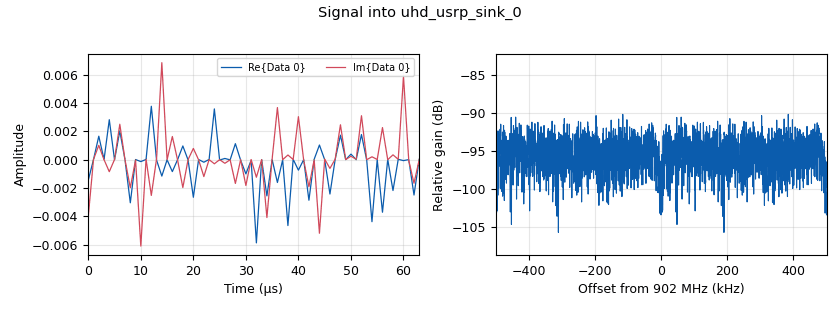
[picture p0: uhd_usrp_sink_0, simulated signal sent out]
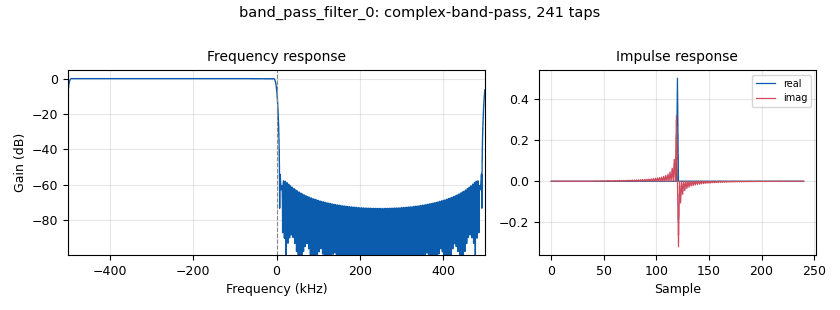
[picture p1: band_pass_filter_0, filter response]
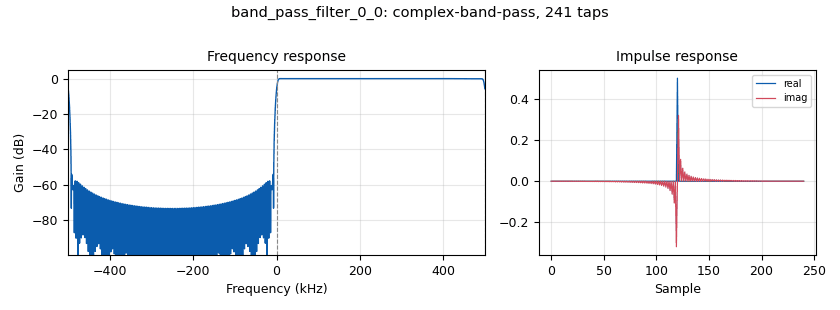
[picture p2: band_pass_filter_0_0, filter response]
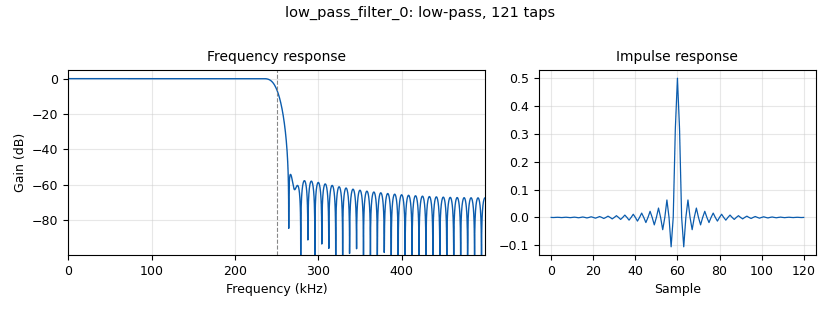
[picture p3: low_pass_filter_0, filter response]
<?xml version='1.0' encoding='utf-8'?>
<flow_graph>
<block>
<key>options</key>
<param><key>id</key><value>top_block</value></param>
<param><key>generate_options</key><value>wx_gui</value></param>
<param><key>category</key><value>Custom</value></param>
</block>
<block>
<key>variable_check_box</key>
<param><key>id</key><value>low_noise</value></param>
<param><key>label</key><value></value></param>
<param><key>value</key><value>True</value></param>
<param><key>true</key><value>True</value></param>
<param><key>false</key><value>False</value></param>
</block>
<block>
<key>variable_check_box</key>
<param><key>id</key><value>high_noise</value></param>
<param><key>label</key><value></value></param>
<param><key>value</key><value>True</value></param>
<param><key>true</key><value>True</value></param>
<param><key>false</key><value>False</value></param>
</block>
<block>
<key>variable_slider</key>
<param><key>id</key><value>noise_scale</value></param>
<param><key>label</key><value></value></param>
<param><key>value</key><value>0.01</value></param>
<param><key>min</key><value>0</value></param>
<param><key>max</key><value>1</value></param>
<param><key>num_steps</key><value>100</value></param>
<param><key>style</key><value>wx.SL_HORIZONTAL</value></param>
<param><key>converver</key><value>float_converter</value></param>
</block>
<block>
<key>gr_multiply_const_vxx</key>
<param><key>id</key><value>gr_multiply_const_vxx_0</value></param>
<param><key>type</key><value>complex</value></param>
<param><key>const</key><value>low_noise</value></param>
<param><key>vlen</key><value>1</value></param>
</block>
<block>
<key>gr_multiply_const_vxx</key>
<param><key>id</key><value>gr_multiply_const_vxx_1</value></param>
<param><key>type</key><value>complex</value></param>
<param><key>const</key><value>high_noise</value></param>
<param><key>vlen</key><value>1</value></param>
</block>
<block>
<key>gr_throttle</key>
<param><key>id</key><value>gr_throttle_0_0</value></param>
<param><key>type</key><value>complex</value></param>
<param><key>samples_per_second</key><value>samp_rate/2</value></param>
<param><key>vlen</key><value>1</value></param>
</block>
<block>
<key>gr_throttle</key>
<param><key>id</key><value>gr_throttle_0</value></param>
<param><key>type</key><value>complex</value></param>
<param><key>samples_per_second</key><value>samp_rate/2</value></param>
<param><key>vlen</key><value>1</value></param>
</block>
<block>
<key>gr_add_xx</key>
<param><key>id</key><value>gr_add_xx_0</value></param>
<param><key>type</key><value>complex</value></param>
<param><key>num_inputs</key><value>2</value></param>
<param><key>vlen</key><value>1</value></param>
</block>
<block>
<key>gr_noise_source_x</key>
<param><key>id</key><value>gr_noise_source_x_0_0</value></param>
<param><key>type</key><value>complex</value></param>
<param><key>noise_type</key><value>gr.GR_GAUSSIAN</value></param>
<param><key>amp</key><value>noise_scale</value></param>
<param><key>seed</key><value>0</value></param>
</block>
<block>
<key>freq_xlating_fir_filter_xxx</key>
<param><key>id</key><value>freq_xlating_fir_filter_xxx_0</value></param>
<param><key>type</key><value>ccc</value></param>
<param><key>decim</key><value>1</value></param>
<param><key>taps</key><value>10</value></param>
<param><key>center_freq</key><value>samp_rate/4</value></param>
<param><key>samp_rate</key><value>samp_rate</value></param>
</block>
<block>
<key>freq_xlating_fir_filter_xxx</key>
<param><key>id</key><value>freq_xlating_fir_filter_xxx_0_0</value></param>
<param><key>type</key><value>ccc</value></param>
<param><key>decim</key><value>1</value></param>
<param><key>taps</key><value>10</value></param>
<param><key>center_freq</key><value>-samp_rate/4</value></param>
<param><key>samp_rate</key><value>samp_rate</value></param>
</block>
<block>
<key>gr_noise_source_x</key>
<param><key>id</key><value>gr_noise_source_x_0</value></param>
<param><key>type</key><value>complex</value></param>
<param><key>noise_type</key><value>gr.GR_GAUSSIAN</value></param>
<param><key>amp</key><value>noise_scale</value></param>
<param><key>seed</key><value>0</value></param>
</block>
<block>
<key>variable_slider</key>
<param><key>id</key><value>ad</value></param>
<param><key>label</key><value></value></param>
<param><key>value</key><value>0</value></param>
<param><key>min</key><value>-50e3</value></param>
<param><key>max</key><value>50e3</value></param>
<param><key>num_steps</key><value>100</value></param>
<param><key>style</key><value>wx.SL_HORIZONTAL</value></param>
<param><key>converver</key><value>float_converter</value></param>
</block>
<block>
<key>band_pass_filter</key>
<param><key>id</key><value>band_pass_filter_0</value></param>
<param><key>type</key><value>fir_filter_ccc</value></param>
<param><key>decim</key><value>1</value></param>
<param><key>gain</key><value>1</value></param>
<param><key>samp_rate</key><value>samp_rate</value></param>
<param><key>low_cutoff_freq</key><value>-samp_rate/2</value></param>
<param><key>high_cutoff_freq</key><value>0</value></param>
<param><key>width</key><value>10e3</value></param>
<param><key>win</key><value>firdes.WIN_HAMMING</value></param>
</block>
<block>
<key>band_pass_filter</key>
<param><key>id</key><value>band_pass_filter_0_0</value></param>
<param><key>type</key><value>fir_filter_ccc</value></param>
<param><key>decim</key><value>1</value></param>
<param><key>gain</key><value>1</value></param>
<param><key>samp_rate</key><value>samp_rate</value></param>
<param><key>low_cutoff_freq</key><value>0</value></param>
<param><key>high_cutoff_freq</key><value>samp_rate/2</value></param>
<param><key>width</key><value>10e3</value></param>
<param><key>win</key><value>firdes.WIN_HAMMING</value></param>
</block>
<block>
<key>variable</key>
<param><key>id</key><value>samp_rate</value></param>
<param><key>value</key><value>1000e3</value></param>
</block>
<block>
<key>low_pass_filter</key>
<param><key>id</key><value>low_pass_filter_0</value></param>
<param><key>type</key><value>interp_fir_filter_ccf</value></param>
<param><key>interp</key><value>2</value></param>
<param><key>gain</key><value>1</value></param>
<param><key>samp_rate</key><value>samp_rate</value></param>
<param><key>cutoff_freq</key><value>samp_rate/4</value></param>
<param><key>width</key><value>20e3</value></param>
<param><key>win</key><value>firdes.WIN_HAMMING</value></param>
</block>
<block>
<key>low_pass_filter</key>
<param><key>id</key><value>low_pass_filter_0_0</value></param>
<param><key>type</key><value>interp_fir_filter_ccf</value></param>
<param><key>interp</key><value>2</value></param>
<param><key>gain</key><value>1</value></param>
<param><key>samp_rate</key><value>samp_rate</value></param>
<param><key>cutoff_freq</key><value>samp_rate/4</value></param>
<param><key>width</key><value>20e3</value></param>
<param><key>win</key><value>firdes.WIN_HAMMING</value></param>
</block>
<block>
<key>uhd_usrp_sink</key>
<param><key>id</key><value>uhd_usrp_sink_0</value></param>
<param><key>type</key><value>fc32</value></param>
<param><key>dev_addr</key><value></value></param>
<param><key>sync</key><value></value></param>
<param><key>clock_rate</key><value>0.0</value></param>
<param><key>sd_spec0</key><value>A:0</value></param>
<param><key>samp_rate</key><value>samp_rate</value></param>
<param><key>center_freq0</key><value>902e6-ad</value></param>
<param><key>gain0</key><value>25</value></param>
<param><key>ant0</key><value></value></param>
</block>
<block>
<key>gr_multiply_const_vxx</key>
<param><key>id</key><value>gr_multiply_const_vxx_2</value></param>
<param><key>type</key><value>complex</value></param>
<param><key>const</key><value>0.04</value></param>
<param><key>vlen</key><value>1</value></param>
</block>
<connection><source_block_id>low_pass_filter_0</source_block_id><sink_block_id>freq_xlating_fir_filter_xxx_0</sink_block_id><source_key>0</source_key><sink_key>0</sink_key></connection>
<connection><source_block_id>freq_xlating_fir_filter_xxx_0</source_block_id><sink_block_id>band_pass_filter_0</sink_block_id><source_key>0</source_key><sink_key>0</sink_key></connection>
<connection><source_block_id>low_pass_filter_0_0</source_block_id><sink_block_id>freq_xlating_fir_filter_xxx_0_0</sink_block_id><source_key>0</source_key><sink_key>0</sink_key></connection>
<connection><source_block_id>freq_xlating_fir_filter_xxx_0_0</source_block_id><sink_block_id>band_pass_filter_0_0</sink_block_id><source_key>0</source_key><sink_key>0</sink_key></connection>
<connection><source_block_id>band_pass_filter_0</source_block_id><sink_block_id>gr_multiply_const_vxx_0</sink_block_id><source_key>0</source_key><sink_key>0</sink_key></connection>
<connection><source_block_id>gr_multiply_const_vxx_0</source_block_id><sink_block_id>gr_add_xx_0</sink_block_id><source_key>0</source_key><sink_key>0</sink_key></connection>
<connection><source_block_id>band_pass_filter_0_0</source_block_id><sink_block_id>gr_multiply_const_vxx_1</sink_block_id><source_key>0</source_key><sink_key>0</sink_key></connection>
<connection><source_block_id>gr_multiply_const_vxx_1</source_block_id><sink_block_id>gr_add_xx_0</sink_block_id><source_key>0</source_key><sink_key>1</sink_key></connection>
<connection><source_block_id>gr_noise_source_x_0_0</source_block_id><sink_block_id>gr_throttle_0</sink_block_id><source_key>0</source_key><sink_key>0</sink_key></connection>
<connection><source_block_id>gr_throttle_0</source_block_id><sink_block_id>low_pass_filter_0_0</sink_block_id><source_key>0</source_key><sink_key>0</sink_key></connection>
<connection><source_block_id>gr_noise_source_x_0</source_block_id><sink_block_id>gr_throttle_0_0</sink_block_id><source_key>0</source_key><sink_key>0</sink_key></connection>
<connection><source_block_id>gr_throttle_0_0</source_block_id><sink_block_id>low_pass_filter_0</sink_block_id><source_key>0</source_key><sink_key>0</sink_key></connection>
<connection><source_block_id>gr_add_xx_0</source_block_id><sink_block_id>gr_multiply_const_vxx_2</sink_block_id><source_key>0</source_key><sink_key>0</sink_key></connection>
<connection><source_block_id>gr_multiply_const_vxx_2</source_block_id><sink_block_id>uhd_usrp_sink_0</sink_block_id><source_key>0</source_key><sink_key>0</sink_key></connection>
</flow_graph>
